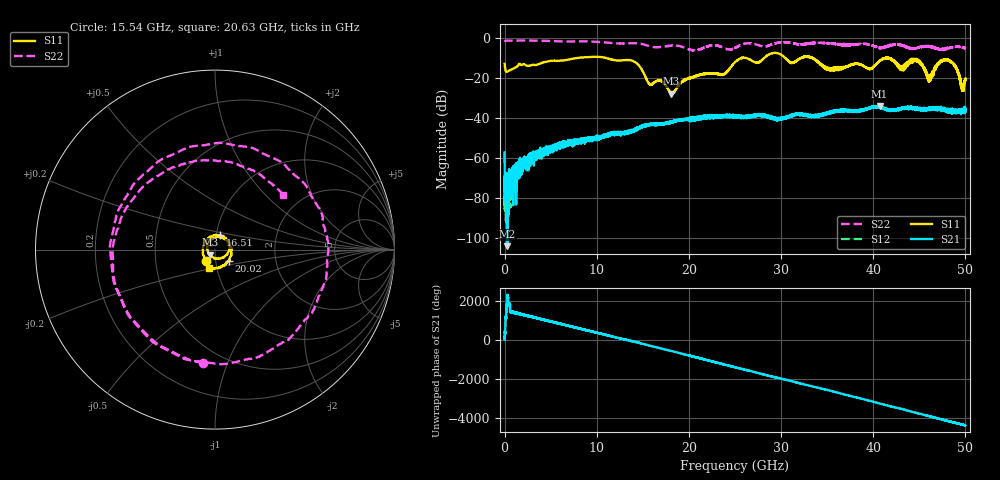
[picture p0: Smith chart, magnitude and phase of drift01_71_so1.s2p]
!Created with skrf (http://scikit-rf.org).
# Hz S RI R 50.0
!freq ReS11 ImS11 ReS21 ImS21 ReS12 ImS12 ReS22 ImS22
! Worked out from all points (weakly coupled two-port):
!   10001 points, 300 kHz to 50 GHz, reference 50 ohm
!   highest |S21| = -34.01 dB at 40.69 GHz (marker M1); lowest = -103.9 dB at 295.3 MHz (marker M2)
!   lowest |S11| = -27.9 dB at 18.09 GHz (marker M3), VSWR 1.08, Z = 47.1 - j2.65 ohm
!   |S11| at or under -10 dB: start of sweep to 8.031 GHz; 10.91 GHz to 25.74 GHz (14.83 GHz wide, 80.9 % of centre); 41.69 GHz to end of sweep (the widest 3 of 20)
!   |S22| runs from -6.4 to -1.4 dB; largest |S21 - S12| = 0.0052
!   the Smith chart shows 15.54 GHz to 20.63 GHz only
!   S11 on the Smith chart (normalised r, x): 15.54 GHz: 0.90, -0.11; 16.51 GHz: 1.04, +0.17; 20.02 GHz: 1.16, -0.14; 20.63 GHz: 0.91, -0.19
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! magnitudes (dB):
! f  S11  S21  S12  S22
! 300 kHz  -13.0  -57.2  -68.5  -2.1
! 295.3 MHz  -16.9  -103.9  -72.5  -1.4
! 3.055 GHz  -13.4  -57.9  -61.3  -1.4
! 8.335 GHz  -9.9  -51.3  -50.9  -1.8
! 13.86 GHz  -11.5  -46.6  -46.6  -2.7
! 15.54 GHz  -21.8  -43.5  -43.3  -4.0
! 16.51 GHz  -21.4  -43.5  -43.1  -4.8
! 16.67 GHz  -21.2  -43.4  -42.9  -4.8
! 18.09 GHz  -27.9  -41.7  -41.9  -3.9
! 20.02 GHz  -20.1  -40.8  -40.3  -5.9
! 20.63 GHz  -19.3  -40.4  -40.2  -6.3
! 23.78 GHz  -18.3  -38.9  -38.7  -5.1
! 25 GHz  -12.2  -39.3  -38.9  -5.0
! 33.34 GHz  -10.0  -38.9  -38.7  -2.7
! 35.33 GHz  -15.5  -37.1  -37.2  -2.8
! 40.69 GHz  -11.5  -34.0  -34.7  -4.9
! 41.67 GHz  -10.1  -35.6  -35.9  -4.2
! 43.07 GHz  -15.7  -35.4  -35.0  -3.8
! 44.8 GHz  -11.1  -35.3  -35.6  -5.0
! 46.1 GHz  -21.2  -34.5  -35.2  -4.3
! 48.04 GHz  -11.3  -36.3  -35.9  -5.0
! 50 GHz  -20.9  -35.7  -36.2  -5.2
